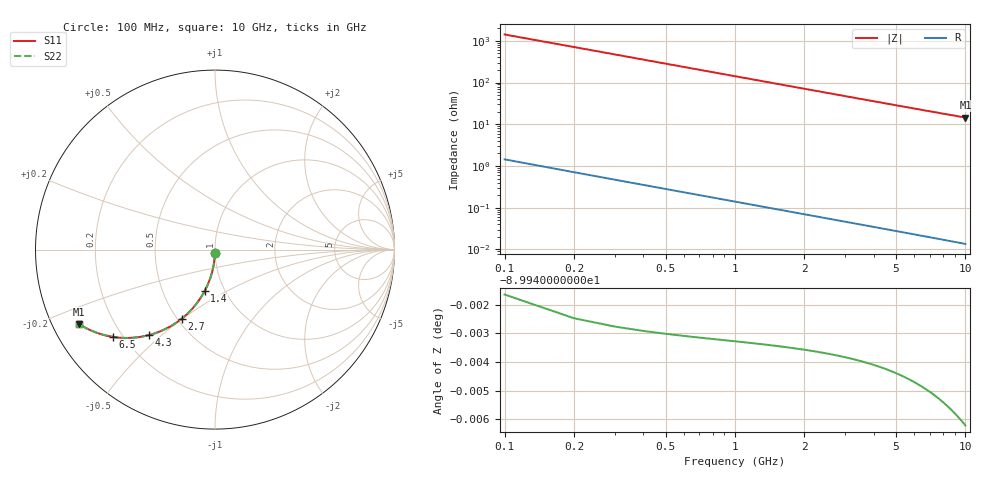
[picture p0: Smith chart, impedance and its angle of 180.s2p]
# Hz S RI R 50.00
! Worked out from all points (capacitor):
!   100 points, 100 MHz to 10 GHz, reference 50 ohm
!   read as one part in shunt: C = 1.12 pF near 100 MHz
!   lowest |Z| = 14.5 ohm at 10 GHz (marker M1)
!   S11 on the Smith chart (normalised r, x): 100 MHz: 1.00, -0.04; 1.4 GHz: 0.80, -0.39; 2.7 GHz: 0.53, -0.50; 4.3 GHz: 0.31, -0.45; 6.5 GHz: 0.16, -0.36; 10 GHz: 0.08, -0.25
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1e8  -0.000302 -0.0175  0.9996 -0.0178  0.9996 -0.0178  -0.000302 -0.0175
2e8  -0.00125 -0.035  0.9987 -0.0355  0.9987 -0.0355  -0.00125 -0.035
3e8  -0.00283 -0.0525  0.9971 -0.0532  0.9971 -0.0532  -0.00283 -0.0525
4e8  -0.00501 -0.0698  0.9949 -0.0708  0.9949 -0.0708  -0.00501 -0.0698
5e8  -0.0078 -0.087  0.9921 -0.0883  0.9921 -0.0883  -0.0078 -0.087
6e8  -0.0112 -0.104  0.9888 -0.1056  0.9888 -0.1056  -0.0112 -0.104
7e8  -0.0152 -0.1209  0.9848 -0.1227  0.9848 -0.1227  -0.0152 -0.1209
9e8  -0.0248 -0.1539  0.9752 -0.1562  0.9752 -0.1562  -0.0248 -0.1539
1.1e9  -0.0365 -0.1858  0.9634 -0.1886  0.9634 -0.1886  -0.0365 -0.1858
1.4e9  -0.0578 -0.2311  0.9421 -0.2347  0.9421 -0.2347  -0.0578 -0.2311
1.8e9  -0.092 -0.2863  0.9079 -0.2908  0.9079 -0.2908  -0.092 -0.2863
2.2e9  -0.1313 -0.3345  0.8686 -0.3401  0.8686 -0.3401  -0.1313 -0.3345
2.7e9  -0.1854 -0.3847  0.8145 -0.3916  0.8145 -0.3916  -0.1854 -0.3847
3.4e9  -0.265 -0.4365  0.7349 -0.4452  0.7349 -0.4452  -0.265 -0.4365
4.3e9  -0.3655 -0.4756  0.6343 -0.4866  0.6343 -0.4866  -0.3655 -0.4756
5.1e9  -0.4475 -0.4901  0.5523 -0.5033  0.5523 -0.5033  -0.4475 -0.4901
5.8e9  -0.5116 -0.4918  0.4882 -0.5069  0.4882 -0.5069  -0.5116 -0.4918
6.5e9  -0.5681 -0.4863  0.4317 -0.5033  0.4317 -0.5033  -0.5681 -0.4863
6.7e9  -0.5829 -0.4838  0.4169 -0.5013  0.4169 -0.5013  -0.5829 -0.4838
7.5e9  -0.6366 -0.4706  0.3632 -0.4903  0.3632 -0.4903  -0.6366 -0.4706
8.4e9  -0.6873 -0.452  0.3124 -0.4741  0.3124 -0.4741  -0.6873 -0.452
1e10  -0.7573 -0.4148  0.2423 -0.4414  0.2423 -0.4414  -0.7573 -0.4148
